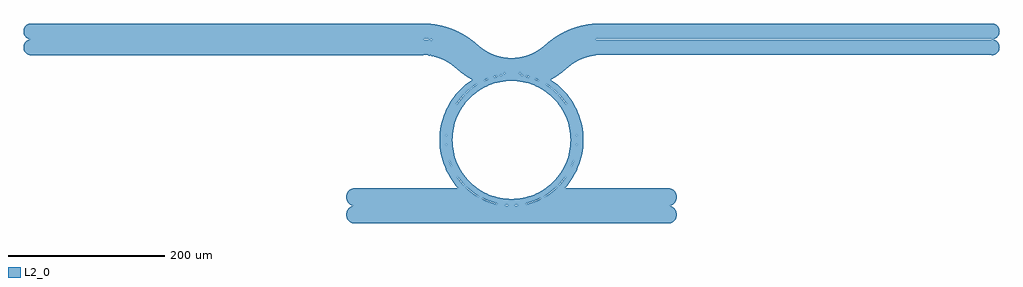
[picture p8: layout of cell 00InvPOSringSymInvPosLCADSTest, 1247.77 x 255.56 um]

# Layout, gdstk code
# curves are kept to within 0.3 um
import gdstk
lib = gdstk.Library(unit=1e-6, precision=1e-09)
def P(c, l, *ps):  # polygons
    for p in ps: c.add(gdstk.Polygon(p, *l))
L2_0 = (2, 0)

c_00invposringsyminvposlca = lib.new_cell('00InvPOSringSymInvPosLCADSTest')
P(c_00invposringsyminvposlca, L2_0, [(-100,-306.75),(-104.36,-305.87),(-107.92,-303.47),(-110.32,-299.91),(-111.199,-295.695),(-110.423,-291.443),(-108.107,-287.823),(-104.609,-285.339),(-100.433,-284.358),(300.289,-284.354),(304.36,-285.23),(307.92,-287.63),(310.266,-291.065),(311.192,-295.117),(310.473,-299.529),(308.199,-303.18),(304.609,-305.761),(300.433,-306.742)],
  [(100,-283.5),(91.816,-283.098),(83.71,-281.896),(75.761,-279.905),(68.046,-277.144),(60.638,-273.64),(53.61,-269.428),(47.028,-264.546),(40.957,-259.043),(35.454,-252.972),(30.572,-246.39),(26.36,-239.362),(22.856,-231.954),(20.095,-224.239),(18.104,-216.29),(16.902,-208.184),(16.5,-200),(16.902,-191.816),(18.104,-183.71),(20.095,-175.761),(22.856,-168.046),(26.36,-160.638),(30.572,-153.61),(35.454,-147.028),(40.957,-140.957),(47.028,-135.454),(53.61,-130.572),(60.638,-126.36),(68.046,-122.856),(75.761,-120.095),(83.71,-118.104),(91.816,-116.902),(100,-116.5),(108.184,-116.902),(116.29,-118.104),(124.239,-120.095),(131.954,-122.856),(139.362,-126.36),(146.39,-130.572),(152.972,-135.454),(159.043,-140.957),(164.546,-147.028),(169.428,-153.61),(173.64,-160.638),(177.144,-168.046),(179.905,-175.761),(181.896,-183.71),(183.098,-191.816),(183.5,-200),(175.5,-200),(174.683,-188.922),(173.237,-181.655),(171.087,-174.565),(168.251,-167.72),(164.759,-161.185),(158.362,-152.103),(153.387,-146.613),(144.975,-139.358),(138.815,-135.241),(128.893,-130.247),(118.345,-126.763),(107.4,-124.864),(96.295,-124.591),(85.271,-125.951),(74.565,-128.913),(64.41,-133.415),(55.025,-139.358),(46.613,-146.613),(41.638,-152.103),(35.241,-161.185),(30.247,-171.107),(27.751,-178.084),(25.317,-188.922),(24.591,-196.295),(24.591,-203.705),(25.951,-214.729),(28.913,-225.435),(31.749,-232.28),(35.241,-238.815),(41.638,-247.897),(46.613,-253.387),(55.025,-260.642),(61.185,-264.759),(71.107,-269.753),(78.084,-272.249),(88.922,-274.683),(96.295,-275.409),(103.705,-275.409),(111.078,-274.683),(121.916,-272.249),(128.893,-269.753),(138.815,-264.759),(147.897,-258.362),(153.387,-253.387),(158.362,-247.897),(162.776,-241.946),(168.251,-232.28),(172.249,-221.916),(174.683,-211.078),(175.5,-200),(183.5,-200),(183.098,-208.184),(181.896,-216.29),(179.905,-224.239),(177.144,-231.954),(173.64,-239.362),(169.428,-246.39),(164.546,-252.972),(159.043,-259.043),(152.972,-264.546),(146.39,-269.428),(139.362,-273.64),(131.954,-277.144),(124.239,-279.905),(116.29,-281.896),(108.184,-283.098)],
  [(-100,-284.25),(-103.979,-283.523),(-107.531,-281.34),(-110.036,-278.028),(-111.156,-274.054),(-110.737,-269.851),(-108.894,-266.242),(-105.808,-263.471),(-101.844,-262.001),(31.896,-261.85),(26.105,-254.804),(21.089,-247.297),(15.003,-235.207),(11.961,-226.706),(9.768,-217.948),(8.443,-209.018),(8,-200),(8.996,-186.501),(11.961,-173.294),(15.003,-164.793),(18.863,-156.632),(23.505,-148.888),(28.883,-141.636),(34.946,-134.946),(41.636,-128.883),(49.767,-122.948),(39.306,-116.391),(24.269,-104.161),(15.442,-98.684),(8.653,-95.68),(1.562,-93.48),(-5.736,-92.113),(-13.142,-91.598),(-513.885,-91.594),(-513.885,-71.594),(-8.044,-71.797),(0.176,-72.776),(8.259,-74.558),(16.129,-77.125),(23.709,-80.452),(35.368,-87.502),(47.392,-97.454),(53.741,-102.033),(60.92,-106.233),(68.023,-109.524),(75.399,-112.144),(83.466,-114.169),(91.693,-115.391),(100,-115.8),(108.307,-115.391),(116.534,-114.169),(124.601,-112.144),(131.977,-109.524),(139.08,-106.233),(146.259,-102.033),(152.608,-97.454),(164.632,-87.502),(176.291,-80.452),(183.871,-77.125),(191.741,-74.558),(199.824,-72.776),(208.044,-71.797),(713.885,-71.594),(713.885,-91.594),(213.513,-91.595),(205.736,-92.113),(198.438,-93.48),(189.275,-96.498),(180.35,-101.049),(174.254,-105.286),(161.675,-115.683),(150.233,-122.948),(158.364,-128.883),(168.168,-138.217),(173.895,-145.196),(181.137,-156.632),(184.997,-164.793),(189.243,-177.646),(191.557,-190.982),(192,-200),(184,-200),(183.596,-191.767),(181.483,-179.59),(179.09,-171.701),(175.935,-164.085),(172.049,-156.815),(164.933,-146.711),(156.411,-137.76),(150.039,-132.531),(143.185,-127.951),(135.915,-124.065),(128.299,-120.91),(116.388,-117.614),(108.233,-116.404),(95.878,-116.101),(87.675,-116.909),(79.59,-118.517),(67.855,-122.394),(56.815,-127.951),(46.711,-135.067),(37.76,-143.589),(30.157,-153.332),(24.065,-164.085),(20.91,-171.701),(17.614,-183.612),(16.101,-195.878),(16.404,-208.233),(18.517,-220.41),(20.91,-228.299),(25.919,-239.597),(32.531,-250.039),(40.603,-259.397),(49.961,-267.469),(60.403,-274.081),(71.701,-279.09),(79.59,-281.483),(91.767,-283.596),(104.122,-283.899),(116.388,-282.386),(128.299,-279.09),(135.915,-275.935),(143.185,-272.049),(153.289,-264.933),(162.24,-256.411),(167.469,-250.039),(174.081,-239.597),(179.09,-228.299),(181.483,-220.41),(183.091,-212.325),(184,-200),(192,-200),(191.557,-209.018),(190.232,-217.948),(188.039,-226.706),(184.997,-235.207),(181.137,-243.368),(176.495,-251.112),(168.104,-261.85),(301.566,-261.959),(304.609,-262.839),(307.227,-264.494),(309.287,-266.788),(310.655,-269.588),(311.192,-272.617),(310.847,-275.849),(309.579,-278.858),(307.63,-281.249),(304.107,-283.473),(300.145,-284.249)],
  [(100,-115.4),(91.732,-114.993),(83.544,-113.776),(75.516,-111.761),(67.723,-108.968),(60.673,-105.652),(53.553,-101.43),(47.641,-97.14),(35.602,-87.177),(24.761,-80.537),(17.639,-77.287),(10.247,-74.709),(2.649,-72.826),(-5.091,-71.652),(-13.885,-71.194),(-513.885,-71.194),(-513.885,-51.194),(-6.629,-51.446),(1.79,-52.375),(10.106,-53.982),(18.264,-56.257),(26.212,-59.184),(34.97,-63.304),(43.31,-68.216),(50.685,-73.503),(62.446,-83.271),(71.669,-88.811),(78.509,-91.696),(85.637,-93.773),(92.957,-95.013),(100,-95.4),(107.043,-95.013),(114.363,-93.773),(121.491,-91.696),(128.331,-88.811),(137.554,-83.271),(149.315,-73.503),(156.69,-68.216),(165.03,-63.304),(173.788,-59.184),(181.736,-56.257),(189.894,-53.982),(198.21,-52.375),(206.629,-51.446),(713.885,-51.194),(713.885,-71.194),(213.885,-71.194),(205.091,-71.652),(197.351,-72.826),(189.753,-74.709),(182.361,-77.287),(175.239,-80.537),(164.398,-87.177),(152.359,-97.14),(146.447,-101.43),(139.327,-105.652),(132.277,-108.968),(124.484,-111.761),(116.456,-113.776),(108.268,-114.993)],
  [(-513.885,-91.594),(-517.777,-90.808),(-520.956,-88.665),(-523.099,-85.487),(-523.885,-81.594),(-523.099,-77.702),(-520.956,-74.523),(-517.777,-72.38),(-513.885,-71.594)],
  [(713.885,-91.594),(713.885,-71.594),(717.777,-72.38),(720.956,-74.523),(723.099,-77.702),(723.885,-81.594),(723.099,-85.487),(720.956,-88.665),(717.777,-90.808)],
  [(-513.885,-71.194),(-517.777,-70.408),(-520.956,-68.265),(-523.099,-65.087),(-523.885,-61.194),(-523.099,-57.302),(-520.956,-54.123),(-517.777,-51.98),(-513.885,-51.194)],
  [(713.885,-71.194),(713.885,-51.194),(717.777,-51.98),(720.956,-54.123),(723.099,-57.302),(723.885,-61.194),(723.099,-65.087),(720.956,-68.265),(717.777,-70.408)])

lib.write_gds('00InvPOSringSymInvPosLCADSTest.gds')
